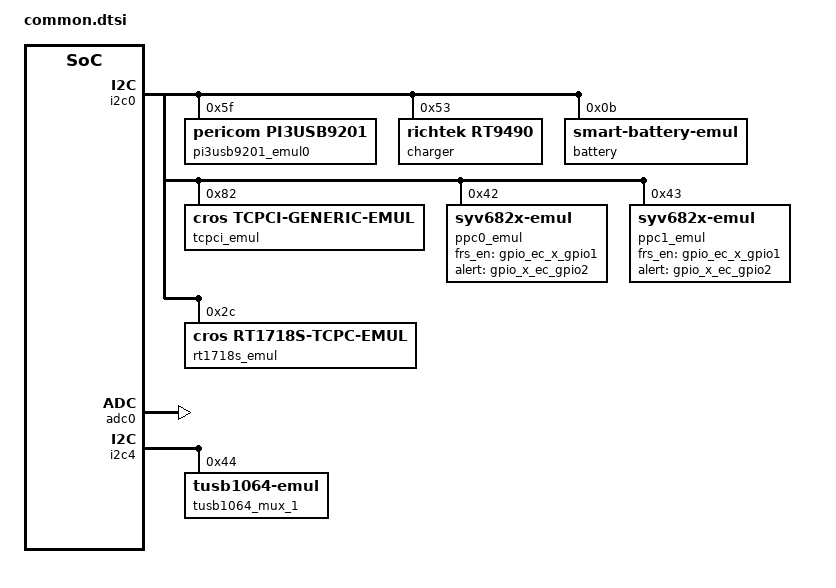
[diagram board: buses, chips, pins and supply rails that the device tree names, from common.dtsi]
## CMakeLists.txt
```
# Copyright 2022 The ChromiumOS Authors
# Use of this source code is governed by a BSD-style license that can be
# found in the LICENSE file.

cmake_minimum_required(VERSION 3.13.1)
find_package(Zephyr REQUIRED HINTS "${ZEPHYR_BASE}")
project(krabby)

add_subdirectory(${PLATFORM_EC}/zephyr/test/test_utils test_utils)

zephyr_include_directories(
	"${PLATFORM_EC_PROGRAM_DIR}/corsola/include"
	include)

target_sources(app PRIVATE
	src/stubs.c
	${PLATFORM_EC_PROGRAM_DIR}/corsola/src/ite_usbc.c
	${PLATFORM_EC_PROGRAM_DIR}/corsola/src/ite_usb_pd_policy.c
	${PLATFORM_EC_PROGRAM_DIR}/corsola/src/usb_pd_policy.c)

target_sources_ifdef(CONFIG_TEST_KRABBY
	app PRIVATE
	src/charger_workaround.c
	src/main.c
	src/power_seq.c
	src/usb_mux_init.c
	src/usbc_config.c
	${PLATFORM_EC_PROGRAM_DIR}/corsola/src/ite_charger_workaround.c)

target_sources_ifdef(CONFIG_TEST_TENTACRUEL
	app PRIVATE
	src/fake.c
	src/ppc_tentacruel.c
	src/temp_tentacruel.c
	src/fwconfig_tentacruel.c
	src/usb_mux_tentacruel.c
	${PLATFORM_EC_PROGRAM_DIR}/corsola/tentacruel/src/ppc.c
	${PLATFORM_EC_PROGRAM_DIR}/corsola/tentacruel/src/temp.c
	${PLATFORM_EC_PROGRAM_DIR}/corsola/tentacruel/src/sensor.c)

target_sources_ifdef(CONFIG_TEST_STARMIE
	app PRIVATE
	src/main.c
	src/power_seq.c
	src/temp_starmie.c
	${PLATFORM_EC_PROGRAM_DIR}/corsola/starmie/src/thermal.c
)

target_sources_ifdef(CONFIG_TEST_CHINCHOU
	app PRIVATE
	src/board_chinchou.c
	src/temp_chinchou.c
	${PLATFORM_EC_PROGRAM_DIR}/corsola/chinchou/src/board.c
	${PLATFORM_EC_PROGRAM_DIR}/corsola/chinchou/src/thermal.c
)

target_sources_ifdef(CONFIG_TEST_WOOBAT
	app PRIVATE
	src/fake.c
	src/ppc_woobat.c
	src/temp_woobat.c
	src/fwconfig_woobat.c
	${PLATFORM_EC_PROGRAM_DIR}/corsola/woobat/src/ppc.c
	${PLATFORM_EC_PROGRAM_DIR}/corsola/woobat/src/temp.c
	${PLATFORM_EC_PROGRAM_DIR}/corsola/woobat/src/sensor.c)

target_sources_ifdef(CONFIG_TEST_WUGTRIO
	app PRIVATE
	src/ppc_wugtrio.c
	src/base_detect.c
	src/motionsense_wugtrio.c
	src/temp_wugtrio.c
	${PLATFORM_EC_PROGRAM_DIR}/corsola/wugtrio/src/ppc.c
	${PLATFORM_EC_PROGRAM_DIR}/corsola/wugtrio/src/base_detect.c
	${PLATFORM_EC_PROGRAM_DIR}/corsola/wugtrio/src/alt_motionsense.c
	${PLATFORM_EC_PROGRAM_DIR}/corsola/wugtrio/src/thermal.c)

target_sources_ifdef(CONFIG_TEST_SKITTY
	app PRIVATE
	src/fake.c
	src/ppc_skitty.c
	src/temp_skitty.c
	src/led_skitty.c
	${PLATFORM_EC_PROGRAM_DIR}/corsola/skitty/src/ppc.c
	${PLATFORM_EC_PROGRAM_DIR}/corsola/skitty/src/temp.c
	${PLATFORM_EC_PROGRAM_DIR}/corsola/skitty/src/led.c)

target_sources_ifdef(CONFIG_TEST_VELUZA
	app PRIVATE
	src/fake_veluza.c
	src/ppc_veluza.c
	src/temp_veluza.c
	src/sensor_veluza.c
	${PLATFORM_EC_PROGRAM_DIR}/corsola/veluza/src/ppc.c
	${PLATFORM_EC_PROGRAM_DIR}/corsola/veluza/src/temp.c
	${PLATFORM_EC_PROGRAM_DIR}/corsola/veluza/src/sensor.c)
```

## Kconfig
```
# Copyright 2022 The ChromiumOS Authors
# Use of this source code is governed by a BSD-style license that can be
# found in the LICENSE file.

config MUX_INIT_ADC
	bool "Run the tests intended for usb_nux_init adc"
	help
	  Include stubs.c with const struct adc_t adc_channels[] function
	  into the binary to test.

choice
	prompt "select the test suite"

config TEST_KRABBY
	bool "Run the tests intended for krabby"
	help
	  Run the tests for krabby common code.

config TEST_TENTACRUEL
	bool "Run the tests intended for tentacruel"
	help
	  Include temp_tentacruel test into the binary to test temperature
	  threshold trigger current control.

config TEST_STARMIE
	bool "Run the tests intended for starmie"
	help
	  Include temp_starmie test into the binary to test temperature
	  threshold trigger current control.

config TEST_CHINCHOU
	bool "Run the tests intended for chincou"
	help
	  Include board_chinchou test into the binary to test distinguish
	  between clamshell and convertible.

config TEST_WOOBAT
	bool "Run the tests intended for woobat"
	help
	  Include temp_woobat test into the binary to test temperature
	  threshold trigger current control.

config TEST_WUGTRIO
	bool "Run the tests intended for wugtrio"
	help
	  Include board_wugtrio test into the binary to test alt_motionsense.c
	  base_detect.c and ppc.c code.

config TEST_DISABLE_INLINE_CHIPSET_IN_STATE
	bool "Disable chipset_in_state inline method"
	help
	  This is used to not define chipset_in_state method as inline
	  function.

config TEST_SKITTY
	bool "Run the tests intended for skitty"
	help
	  Include skitty test into the binary to test temperature
	  threshold trigger current control.

config TEST_VELUZA
	bool "Run the tests intended for veluza"
	help
	  Include veluza test into the binary to test temperature
	  threshold trigger current control.

endchoice

source "Kconfig.zephyr"
```

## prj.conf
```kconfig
# Copyright 2022 The ChromiumOS Authors
# Use of this source code is governed by a BSD-style license that can be
# found in the LICENSE file.

CONFIG_ZTEST=y
CONFIG_ZTEST_ASSERT_VERBOSE=1

CONFIG_ASSERT=y
CONFIG_ADC=y
CONFIG_CROS_EC=y
CONFIG_EMUL=y

CONFIG_SHIMMED_TASKS=n

CONFIG_PLATFORM_EC=y
CONFIG_PLATFORM_EC_BACKLIGHT_LID=n
CONFIG_PLATFORM_EC_BATTERY_FUEL_GAUGE=y
CONFIG_PLATFORM_EC_CHARGER=y
CONFIG_PLATFORM_EC_CHARGER_SENSE_RESISTOR=10
CONFIG_PLATFORM_EC_CHARGER_SENSE_RESISTOR_AC=20
CONFIG_PLATFORM_EC_CHARGE_MANAGER=y
CONFIG_PLATFORM_EC_CHARGE_RAMP_HW=y
CONFIG_PLATFORM_EC_GPIO_INIT_PRIORITY=49
CONFIG_PLATFORM_EC_HOOKS=y
CONFIG_PLATFORM_EC_HOSTCMD=y
CONFIG_PLATFORM_EC_LID_SWITCH=y
CONFIG_PLATFORM_EC_POWERSEQ_HOST_SLEEP=y
CONFIG_PLATFORM_EC_POWER_BUTTON=y
CONFIG_PLATFORM_EC_POWER_SLEEP_FAILURE_DETECTION=y
CONFIG_PLATFORM_EC_SWITCH=n
CONFIG_PLATFORM_EC_USBC=y
CONFIG_PLATFORM_EC_USB_CHARGER=y
CONFIG_PLATFORM_EC_USB_DRP_ACC_TRYSRC=y
CONFIG_PLATFORM_EC_USB_PD_DISCHARGE=y
CONFIG_PLATFORM_EC_USB_PD_DISCHARGE_PPC=y
CONFIG_PLATFORM_EC_USB_PD_VBUS_MEASURE_ADC_EACH_PORT=y
CONFIG_PLATFORM_EC_USB_POWER_DELIVERY=y
CONFIG_PLATFORM_EC_VBOOT_HASH=n
CONFIG_PLATFORM_EC_PP3700_DISCHARGE_TIME_MS=100

CONFIG_PLATFORM_EC_USBC_PPC=y

CONFIG_UART_NATIVE_PTY_0_ON_STDINOUT=y
```

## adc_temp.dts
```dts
/* Copyright 2022 The ChromiumOS Authors
 * Use of this source code is governed by a BSD-style license that can be
 * found in the LICENSE file.
 */

#include <cros/thermistor/thermistor.dtsi>

/ {
	name_temp_charger: charger {
		compatible = "cros-ec,temp-sensor-thermistor";

		thermistor = <&thermistor_rt9490>;
		adc = <&adc_charger>;
	};

	named-temp-sensors {
		compatible = "cros-ec,temp-sensors";
		temp_charger: charger {
			status = "okay";
			sensor = <&name_temp_charger>;
		};
	};
};
```

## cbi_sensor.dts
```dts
/* Copyright 2022 The ChromiumOS Authors
 * Use of this source code is governed by a BSD-style license that can be
 * found in the LICENSE file.
 */


/ {
	aliases {
		/*
		 * motion sense's <>_INT_EVENT is handled
		 * by alias. Using the alias, each driver creates
		 * its own <>_INT_EVENT.
		 */
		bmi3xx-int = &base_accel;
		bma4xx-int = &lid_accel;
	};
	named-i2c-ports {
	    compatible = "named-i2c-ports";

	    i2c_sensor: i2c-sensor {
		    i2c-port = <&i2c_ctrl0>;
		    enum-names = "I2C_PORT_SENSOR";
	    };
	    i2c_eeprom: i2c-eeprom {
		    i2c-port = <&i2c_ctrl0>;
		    enum-names = "I2C_PORT_EEPROM";
	    };
	};
	gpio-interrupts {
		int_base_imu: base_imu {
			handler = "base_sensor_interrupt";
		};

		int_lid_imu: lid_imu {
			handler = "lid_sensor_interrupt";
		};
	};
	/*
	 * change all underlying sensor drivers to bmi260 to have a easier way
	 * to mock interrupt handlers.
	 */
	motionsense-sensor-data {
		bmi323_data: bmi323-drv-data {
			compatible = "cros-ec,drvdata-bmi260";
			status = "okay";
		};

		bma422_data: bma422-drv-data {
			compatible = "cros-ec,drvdata-bmi260";
			status = "okay";
		};
	};
	motionsense-sensor-alt {
		alt_lid_accel: alt-lid-accel {
			compatible = "cros-ec,bmi260-accel";
			status = "okay";

			active-mask = "SENSOR_ACTIVE_S0_S3";
			location = "MOTIONSENSE_LOC_LID";
			port = <&i2c_sensor>;
			drv-data = <&bma422_data>;
			alternate-for = <&lid_accel>;
			mutex = <&lid_mutex>;
		};

		alt_base_accel: alt-base-accel {
			compatible = "cros-ec,bmi260-accel";
			status = "okay";

			active-mask = "SENSOR_ACTIVE_S0_S3";
			location = "MOTIONSENSE_LOC_BASE";
			port = <&i2c_sensor>;
			drv-data = <&bmi323_data>;
			alternate-for = <&base_accel>;
			mutex = <&base_mutex>;
		};

		alt_base_gyro: alt-base-gyro {
			compatible = "cros-ec,bmi260-gyro";
			status = "okay";

			active-mask = "SENSOR_ACTIVE_S0_S3";
			location = "MOTIONSENSE_LOC_BASE";
			port = <&i2c_sensor>;
			drv-data = <&bmi323_data>;
			alternate-for = <&base_gyro>;
			mutex = <&base_mutex>;
		};
	};
};

&i2c_ctrl0 {
	status="okay";

	cbi_eeprom: eeprom@50 {
		compatible = "atmel,at24";
		reg = <0x50>;
		size = <2048>;
		pagesize = <16>;
		address-width = <8>;
		timeout = <5>;
	};
};

&lid_accel {
	compatible = "cros-ec,bmi260-accel";
};

&base_accel {
	compatible = "cros-ec,bmi260-accel";
};

&base_gyro {
	compatible = "cros-ec,bmi260-gyro";
};

&icm42607_data {
	compatible = "cros-ec,drvdata-bmi260";
};

&lis2dw12_data {
	compatible = "cros-ec,drvdata-bmi260";
};
```

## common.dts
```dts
/* Copyright 2022 The ChromiumOS Authors
 * Use of this source code is governed by a BSD-style license that can be
 * found in the LICENSE file.
 */

#include <it8xxx2_emul.dts>

/ {
	pinctrl: pinctrl {
		compatible = "ite,it8xxx2-pinctrl";
		status = "disabled";
	};

	named-i2c-ports {
		compatible = "named-i2c-ports";

		i2c_charger: charger {
			i2c-port = <&i2c_ctrl0>;
			enum-names = "I2C_PORT_CHARGER",
				"I2C_PORT_BATTERY";
		};
	};

	usbc {
		#address-cells = <1>;
		#size-cells = <0>;

		port0@0 {
			compatible = "named-usbc-port";
			status = "okay";
			reg = <0>;
			chg = <&charger>;
			tcpc = <&tcpci_emul>;
			ppc = <&ppc0_emul>;
			usb-mux-chain-0 {
				compatible = "cros-ec,usb-mux-chain";
				usb-muxes = <&virtual_mux_0>;
			};
		};
		port0-muxes {
			virtual_mux_0: virtual-mux-0 {
				compatible = "cros-ec,usbc-mux-virtual";
			};
		};

		port1@1 {
			compatible = "named-usbc-port";
			status = "okay";
			reg = <1>;
			tcpc = <&tcpci_emul>;
			ppc = <&ppc1_emul>;
			usb-mux-chain-1 {
				compatible = "cros-ec,usb-mux-chain";
				usb-muxes = <&tusb1064_mux_1>;
			};
		};
		port1-muxes {
			virtual_mux_1: virtual-mux-1 {
				compatible = "cros-ec,usbc-mux-virtual";
			};
		};
	};

	batteries {
		default_battery: lgc_ac17a8m {
			compatible = "lgc,ac17a8m", "battery-smart";
		};
	};

	named-adc-channels {
		compatible = "named-adc-channels";

		adc_vbus_c0 {
			enum-name = "ADC_VBUS_C0";
			io-channels = <&adc0 0>;
			mul = <10>;
		};
		adc_board_id0 {
			enum-name = "ADC_BOARD_ID_0";
			io-channels = <&adc0 1>;
		};
		adc_board_id1 {
			enum-name = "ADC_BOARD_ID_1";
			io-channels = <&adc0 2>;
		};
		adc_vbus_c1 {
			enum-name = "ADC_VBUS_C1";
			io-channels = <&adc0 7>;
			mul = <10>;
		};
		adc_charger: charger {
			enum-name = "ADC_TEMP_SENSOR_CHARGER";
			io-channels = <&adc0 5>;
		};
	};
};

&i2c_ctrl0 {
	status="okay";

	charger: rt9490@53 {
		compatible = "zephyr,rt9490-emul";
		status = "okay";
		reg = <0x53>;
	};

	battery: sb@b {
		compatible = "zephyr,smart-battery-emul";
		reg = <0xb>;
		cycle-count = <99>;
		version = "BATTERY_SPEC_VER_1_1_WITH_PEC";
		/* Real battery voltages are multiples of 4.4V. */
		desired-charg-volt = <5000>;
		desired-charg-cur = <1000>;
		mf-name = "LGC";
		dev-name = "AC17A8M";
	};

	tcpci_emul: tcpci_emul@82 {
		compatible = "cros,tcpci-generic-emul";
		status = "okay";
		reg = <0x82>;
	};

	ppc0_emul: syv682x@42 {
		compatible = "zephyr,syv682x-emul";
		status = "okay";
		reg = <0x42>;
		frs_en_gpio = <&gpio_ec_x_gpio1>;
		alert_gpio = <&gpio_x_ec_gpio2>;
	};

	ppc1_emul: syv682x@43 {
		compatible = "zephyr,syv682x-emul";
		status = "okay";
		reg = <0x43>;
		/*
		 * the gpio pins are intentionally reused in both ppc emuls, to
		 * avoid handling different frs-en pin names on krabby and
		 * tentacruel.
		 */
		frs_en_gpio = <&gpio_ec_x_gpio1>;
		alert_gpio = <&gpio_x_ec_gpio2>;
	};
};

&adc0 {
	status = "okay";
};

&i2c_ctrl4 {
	status="okay";

	tusb1064_mux_1: tusb1064-mux-1@44 {
		compatible = "zephyr,tusb1064-emul";
		reg = <0x44>;
		board-init = "tusb1064_mux_1_board_init";
	};
};
```

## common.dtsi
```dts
/* Copyright 2022 The ChromiumOS Authors
 * Use of this source code is governed by a BSD-style license that can be
 * found in the LICENSE file.
 */

#include <it8xxx2_emul.dts>

/ {
	pinctrl: pinctrl {
		compatible = "ite,it8xxx2-pinctrl";
		status = "disabled";
	};

	named-i2c-ports {
		compatible = "named-i2c-ports";

		i2c_charger: charger {
			i2c-port = <&i2c0>;
			enum-names = "I2C_PORT_CHARGER",
				"I2C_PORT_BATTERY";
		};
	};

	usbc {
		#address-cells = <1>;
		#size-cells = <0>;

		port0@0 {
			compatible = "named-usbc-port";
			status = "okay";
			reg = <0>;
			bc12 = <&pi3usb9201_emul0>;
			chg = <&charger>;
			tcpc = <&tcpci_emul>;
			ppc = <&ppc0_emul>;
			usb-mux-chain-0 {
				compatible = "cros-ec,usb-mux-chain";
				usb-muxes = <&virtual_mux_0>;
			};
		};
		port0-muxes {
			virtual_mux_0: virtual-mux-0 {
				compatible = "cros-ec,usbc-mux-virtual";
			};
		};

		port1@1 {
			compatible = "named-usbc-port";
			status = "okay";
			reg = <1>;
			bc12 = <&bc12_port1>;
			tcpc = <&rt1718s_emul>;
			ppc = <&ppc1_emul>;
			usb-mux-chain-1 {
				compatible = "cros-ec,usb-mux-chain";
				usb-muxes = <&tusb1064_mux_1>;
			};
		};
		port1-muxes {
			virtual_mux_1: virtual-mux-1 {
				compatible = "cros-ec,usbc-mux-virtual";
			};
		};
	};

	batteries {
		default_battery: lgc_ac17a8m {
			compatible = "lgc,ac17a8m", "battery-smart";
			/**
			 * this has to be strictly lower than the desired
			 * voltage in smart battery emulator (5000mV).
			 */
			voltage_min = <4000>;
		};
	};

	named-adc-channels {
		compatible = "named-adc-channels";

		adc_vbus_c0 {
			enum-name = "ADC_VBUS_C0";
			io-channels = <&adc0 0>;
			mul = <10>;
		};
		adc_board_id0 {
			enum-name = "ADC_BOARD_ID_0";
			io-channels = <&adc0 1>;
		};
		adc_board_id1 {
			enum-name = "ADC_BOARD_ID_1";
			io-channels = <&adc0 2>;
		};
		adc_vbus_c1 {
			enum-name = "ADC_VBUS_C1";
			io-channels = <&adc0 7>;
			mul = <10>;
		};
		adc_charger: charger {
			enum-name = "ADC_TEMP_SENSOR_CHARGER";
			io-channels = <&adc0 5>;
		};
	};
};

&i2c0 {
	status="okay";

	pi3usb9201_emul0: pi3usb9201@5f {
		compatible = "pericom,pi3usb9201";
		reg = <0x5f>;
	};

	charger: bc12_port1: rt9490@53 {
		compatible = "richtek,rt9490", "zephyr,rt9490-emul";
		status = "okay";
		reg = <0x53>;
	};

	battery: sb@b {
		compatible = "zephyr,smart-battery-emul";
		reg = <0xb>;
		cycle-count = <99>;
		version = "BATTERY_SPEC_VER_1_1_WITH_PEC";
		/* Real battery voltages are multiples of 4.4V. */
		desired-charg-volt = <5000>;
		desired-charg-cur = <1000>;
		mf-name = "LGC";
		dev-name = "AC17A8M";
	};

	tcpci_emul: tcpci_emul@82 {
		compatible = "cros,tcpci-generic-emul";
		status = "okay";
		reg = <0x82>;
	};

	ppc0_emul: syv682x@42 {
		compatible = "zephyr,syv682x-emul";
		status = "okay";
		reg = <0x42>;
		frs_en_gpio = <&gpio_ec_x_gpio1>;
		alert_gpio = <&gpio_x_ec_gpio2>;
	};

	ppc1_emul: syv682x@43 {
		compatible = "zephyr,syv682x-emul";
		status = "okay";
		reg = <0x43>;
		/*
		 * the gpio pins are intentionally reused in both ppc emuls, to
		 * avoid handling different frs-en pin names on krabby and
		 * tentacruel.
		 */
		frs_en_gpio = <&gpio_ec_x_gpio1>;
		alert_gpio = <&gpio_x_ec_gpio2>;
	};

	rt1718s_emul: rt1718s@2c {
		compatible = "cros,rt1718s-tcpc-emul", "richtek,rt1718s-tcpc";
		status = "okay";
		reg = <0x2c>;
	};
};

&adc0 {
	status = "okay";
};

&i2c4 {
	status="okay";

	tusb1064_mux_1: tusb1064-mux-1@44 {
		compatible = "zephyr,tusb1064-emul";
		reg = <0x44>;
		board-init = "tusb1064_mux_1_board_init";
	};
};
```

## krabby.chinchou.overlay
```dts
/* Copyright 2023 The ChromiumOS Authors
 * Use of this source code is governed by a BSD-style license that can be
 * found in the LICENSE file.
 */

#include "common.dtsi"
#include "../program/corsola/ite_gpio.dtsi"
#include "../program/corsola/ite_interrupts.dtsi"
#include "../program/corsola/power_signal.dtsi"
#include "../program/corsola/chinchou/thermistor.dtsi"
#include <cros/thermistor/thermistor.dtsi>

/* remove pinctrl to avoid pull in too many unwanted dependency */
/delete-node/ &pinctrl;

/delete-node/ &int_usb_c0_ppc_bc12;
/delete-node/ &int_volume_up;
/delete-node/ &int_volume_down;
/delete-node/ &int_tablet_mode;
/delete-node/ &int_xhci;
/delete-node/ &int_spi0_cs;
/delete-node/ &int_x_ec_gpio2;
/delete-node/ &int_ccd_mode_odl;
/delete-node/ &int_base_imu;
/delete-node/ &int_lid_imu;

/ {
	aliases {
		bma4xx-int = &lid_accel;
	};

	charger_bc12_port1: charger {
		compatible = "cros-ec,temp-sensor-thermistor";

		thermistor = <&thermistor_rt9490>;
		adc = <&adc_charger>;
	};

	named-temp-sensors {
		compatible = "cros-ec,temp-sensors";
		temp_charger: charger {
			status = "okay";
			sensor = <&charger_bc12_port1>;
		};
	};

	named-gpios {
		en_pp4200_s5: en-pp4200-s5 {
			gpios = <&gpiod 2 GPIO_OUTPUT_LOW>;
		};

		pg_pp4200_s5_od: pg-pp4200-s5-od {
			gpios = <&gpioe 1 GPIO_INPUT>;
			enum-name = "GPIO_PG_PP4200_S5_OD";
		};

		pmic_ec_resetb: pmic-ec-resetb {
			gpios = <&gpioh 3 (GPIO_INPUT | GPIO_VOLTAGE_1P8 |
					GPIO_ACTIVE_LOW)>;
			enum-name = "GPIO_PMIC_EC_RESETB";
		};
	};

	power_signal_list: power-signal-list {
		 compatible = "mediatek,mt8188-power-signal-list";

		 pg_pp4200_s5 {
			power-enum-name = "PG_PP4200_S5";
			power-gpio-pin = <&pg_pp4200_s5_od>;
		};
		 pmic_ap_reset {
			power-enum-name = "PMIC_AP_RST";
			power-gpio-pin = <&pmic_ec_resetb>;
		};
	};

	/delete-node/ unused-pins;

	gpio-interrupts {
		int_base_imu: base_imu {
			irq-pin = <&base_imu_int_l>;
			flags = <GPIO_INT_EDGE_FALLING>;
			handler = "motion_interrupt";
		};
	};

	motionsense-sensor-data {
		bma4xx_data: bma4xx-drv-data {
			compatible = "cros-ec,drvdata-bma4xx";
			status = "okay";
		};
		bmi3xx_data: bmi3xx-drv-data {
			compatible = "cros-ec,drvdata-bmi3xx";
			status = "okay";
		};
	};

	motionsense-sensor {
		lid_accel: lid-accel {
			compatible = "cros-ec,bma4xx";
			status = "okay";

			active-mask = "SENSOR_ACTIVE_S0_S3";
			location = "MOTIONSENSE_LOC_LID";
			drv-data = <&bma4xx_data>;
		};

		base_accel: base-accel {
			compatible = "cros-ec,bmi3xx-accel";
			status = "okay";

			active-mask = "SENSOR_ACTIVE_S0_S3";
			location = "MOTIONSENSE_LOC_BASE";
			drv-data = <&bmi3xx_data>;
		};

		base_gyro: base-gyro {
			compatible = "cros-ec,bmi3xx-gyro";
			status = "okay";

			active-mask = "SENSOR_ACTIVE_S0_S3";
			location = "MOTIONSENSE_LOC_BASE";
			drv-data = <&bmi3xx_data>;
		};
	};

	Chinchou-fw-config {
		compatible = "cros-ec,cbi-fw-config";

		/*
		 * FW_CONFIG field to indicate the device is clamshell
		 * or convertible.
		 */
		form_factor {
			enum-name = "FORM_FACTOR";
			start = <13>;
			size = <3>;

			convertible {
				compatible = "cros-ec,cbi-fw-config-value";
				enum-name = "CONVERTIBLE";
				value = <1>;
			};
			clamshell {
				compatible = "cros-ec,cbi-fw-config-value";
				enum-name = "CLAMSHELL";
				value = <0>;
			};
		};
	};

	/* Chinchou-specific ssfc fields. */
	chinchou-ssfc {
		compatible = "cros-ec,cbi-ssfc";

		/* SSFC field to identify BASE motion sensor. */
		base-sensor {
			enum-name = "BASE_SENSOR";
			size = <3>;

			base_sensor_0: bmi323 {
				compatible = "cros-ec,cbi-ssfc-value";
				status = "okay";
				value = <1>;
				default;
			};

			base_sensor_1: lsm6dsm {
				compatible = "cros-ec,cbi-ssfc-value";
				status = "okay";
				value = <2>;
			};
		};

		/* SSFC field to identify LID motion sensor. */
		lid-sensor {
			enum-name = "LID_SENSOR";
			size = <3>;

			lid_sensor_0: bma422 {
				compatible = "cros-ec,cbi-ssfc-value";
				status = "okay";
				value = <1>;
				default;
			};
			lid_sensor_1: lis2dw12 {
				compatible = "cros-ec,cbi-ssfc-value";
				status = "okay";
				value = <2>;
			};
		};
	};

	named-i2c-ports {
		compatible = "named-i2c-ports";

		battery {
			i2c-port = <&i2c0>;
			remote-port = <1>;
			enum-names = "I2C_PORT_BATTERY",
				"I2C_PORT_VIRTUAL_BATTERY";
		};

		i2c_charger: charger {
			i2c-port = <&i2c0>;
			enum-names = "I2C_PORT_CHARGER",
				"I2C_PORT_EEPROM";
		};
	};

	motionsense-sensor-alt {
		alt_lid_accel: alt-lid-accel {
			compatible = "cros-ec,lis2dw12";
			status = "okay";

			active-mask = "SENSOR_ACTIVE_S0_S3";
			location = "MOTIONSENSE_LOC_LID";
		};

		alt_base_accel: alt-base-accel {
			compatible = "cros-ec,lsm6dsm-accel";
			status = "okay";

			active-mask = "SENSOR_ACTIVE_S0_S3";
			location = "MOTIONSENSE_LOC_BASE";
		};

		alt_base_gyro: alt-base-gyro {
			compatible = "cros-ec,lsm6dsm-gyro";
			status = "okay";

			active-mask = "SENSOR_ACTIVE_S0_S3";
			location = "MOTIONSENSE_LOC_BASE";
		};
	};

	motionsense-sensor-info {
		compatible = "cros-ec,motionsense-sensor-info";

		sensor-irqs = <&int_base_imu>;
	};
};

/* open-drain is not supported in gpio emul, re-config to push-pull  */
&ec_pmic_en_odl {
	gpios = <&gpiod 0 (GPIO_OUTPUT_HIGH | GPIO_INPUT | GPIO_VOLTAGE_1P8)>;
};
&sys_rst_odl {
	gpios = <&gpiog 1 GPIO_OUTPUT_LOW>;
};

/* set default gpio-emul state */
&power_button_l {
	gpios = <&gpioe 4 (GPIO_INPUT | GPIO_PULL_UP)>;
};

&i2c0 {
	status = "okay";

	cbi_eeprom: eeprom@50 {
		compatible = "atmel,at24";
		reg = <0x50>;
		size = <2048>;
		pagesize = <16>;
		address-width = <8>;
		timeout = <5>;
	};
};
```

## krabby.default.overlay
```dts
/* Copyright 2022 The ChromiumOS Authors
 * Use of this source code is governed by a BSD-style license that can be
 * found in the LICENSE file.
 */

#include "common.dtsi"
#include "../program/corsola/ite_gpio.dtsi"
#include "../program/corsola/ite_interrupts.dtsi"
#include "../program/corsola/power_signal.dtsi"

/* remove pinctrl to avoid pull in too many unwanted dependency */
/delete-node/ &pinctrl;

/delete-node/ &int_usb_c0_ppc_bc12;
/delete-node/ &int_volume_up;
/delete-node/ &int_volume_down;
/delete-node/ &int_tablet_mode;
/delete-node/ &int_xhci;
/delete-node/ &int_spi0_cs;
/delete-node/ &int_x_ec_gpio2;
/delete-node/ &int_ccd_mode_odl;
/delete-node/ &int_base_imu;
/delete-node/ &int_lid_imu;

/* open-drain is not supported in gpio emul, re-config to push-pull  */
&ec_pmic_en_odl {
	gpios = <&gpiod 0 (GPIO_OUTPUT_HIGH | GPIO_INPUT | GPIO_VOLTAGE_1P8)>;
};
&sys_rst_odl {
	gpios = <&gpiog 1 GPIO_OUTPUT_LOW>;
};

/* set default gpio-emul state */
&power_button_l {
	gpios = <&gpioe 4 (GPIO_INPUT | GPIO_PULL_UP)>;
};
```

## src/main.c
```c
/* Copyright 2022 The ChromiumOS Authors
 * Use of this source code is governed by a BSD-style license that can be
 * found in the LICENSE file.
 */

#include "ec_app_main.h"
#include "test_state.h"

#include <zephyr/kernel.h>
#include <zephyr/ztest.h>

bool krabby_predicate_post_main(const void *state)
{
	return ((struct test_state *)state)->ec_app_main_run;
}

void test_main(void)
{
	struct test_state state = {
		.ec_app_main_run = false,
	};

	/* Run all the suites that depend on main not being called yet */
	ztest_run_test_suites(&state, false, 1, 1);

	ec_app_main();

	state.ec_app_main_run = true;

	/* Run all the suites that depend on main being called */
	ztest_run_test_suites(&state, false, 1, 1);

	/* Check that every suite ran */
	ztest_verify_all_test_suites_ran();
}
```

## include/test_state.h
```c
/* Copyright 2022 The ChromiumOS Authors
 * Use of this source code is governed by a BSD-style license that can be
 * found in the LICENSE file.
 */

#ifndef ZEPHYR_TEST_KRABBY_INCLUDE_TEST_STATE_H_
#define ZEPHYR_TEST_KRABBY_INCLUDE_TEST_STATE_H_

#include <stdbool.h>

struct test_state {
	bool ec_app_main_run;
};

bool krabby_predicate_post_main(const void *state);

#endif /* ZEPHYR_TEST_AP_POWER_INCLUDE_TEST_STATE_H_ */
```

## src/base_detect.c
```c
/* Copyright 2024 The ChromiumOS Authors
 * Use of this source code is governed by a BSD-style license that can be
 * found in the LICENSE file.
 */

#include "ap_power/ap_power_events.h"
#include "base_state.h"
#include "chipset.h"
#include "gpio/gpio_int.h"
#include "hooks.h"
#include "host_command.h"
#include "power.h"
#include "tablet_mode.h"
#include "task.h"

#include <zephyr/drivers/adc/adc_emul.h>
#include <zephyr/drivers/gpio.h>
#include <zephyr/drivers/gpio/gpio_emul.h>
#include <zephyr/kernel.h>
#include <zephyr/ztest.h>

#define ATTACH_MAX_THRESHOLD_MV 300
#define UNATTACH_THRESHOLD_MV 1800

extern bool is_held;

static void set_signal_state(enum power_state state)
{
	const struct gpio_dt_spec *ap_ec_sysrst_odl =
		gpio_get_dt_spec(GPIO_AP_EC_SYSRST_ODL);
	const struct gpio_dt_spec *ap_in_sleep_l =
		gpio_get_dt_spec(GPIO_AP_IN_SLEEP_L);

	if (state == POWER_S0) {
		gpio_emul_input_set(ap_in_sleep_l->port, ap_in_sleep_l->pin, 1);
		gpio_emul_input_set(ap_ec_sysrst_odl->port,
				    ap_ec_sysrst_odl->pin, 1);
	}

	/* reset is_held flag */
	is_held = false;
	task_wake(TASK_ID_CHIPSET);
	k_sleep(K_SECONDS(1));
}

static void *base_detect_setup(void)
{
	/* G3 -> S0 */
	power_set_state(POWER_G3);
	set_signal_state(POWER_S0);

	return NULL;
}

ZTEST_SUITE(base_detect, NULL, base_detect_setup, NULL, NULL, NULL);

ZTEST(base_detect, test_init_attach_detach)
{
	const struct device *adc_dev = DEVICE_DT_GET(DT_NODELABEL(adc0));
	const uint8_t adc_channel =
		DT_IO_CHANNELS_INPUT(DT_NODELABEL(adc_base_det));

	zassert_ok(adc_emul_const_value_set(adc_dev, adc_channel,
					    ATTACH_MAX_THRESHOLD_MV));
	k_sleep(K_MSEC(1000));
	hook_notify(HOOK_INIT);
	zassert_true(base_get_state());

	zassert_ok(adc_emul_const_value_set(adc_dev, adc_channel,
					    UNATTACH_THRESHOLD_MV));
	k_sleep(K_MSEC(1000));
	hook_notify(HOOK_INIT);
	zassert_false(base_get_state());
}

ZTEST(base_detect, test_base_detect_startup)
{
	const struct device *adc_dev = DEVICE_DT_GET(DT_NODELABEL(adc0));
	const uint8_t adc_channel =
		DT_IO_CHANNELS_INPUT(DT_NODELABEL(adc_base_det));

	/* Verify power on when keyboard is plugged in or out */
	hook_notify(HOOK_INIT);
	zassert_ok(adc_emul_const_value_set(adc_dev, adc_channel,
					    ATTACH_MAX_THRESHOLD_MV));
	k_sleep(K_MSEC(1000));

	ap_power_ev_send_callbacks(AP_POWER_STARTUP);
	zassert_equal(0, tablet_get_mode(), NULL);

	zassert_ok(adc_emul_const_value_set(adc_dev, adc_channel,
					    UNATTACH_THRESHOLD_MV));
	k_sleep(K_MSEC(1000));
	ap_power_ev_send_callbacks(AP_POWER_STARTUP);
	k_sleep(K_MSEC(100));
	zassert_equal(1, tablet_get_mode());
}

ZTEST(base_detect, test_base_detect_shutdown)
{
	/* Verify shutdown when keyboard is plugged in or out */
	hook_notify(HOOK_INIT);
	ap_power_ev_send_callbacks(AP_POWER_SHUTDOWN);
	zassert_equal(1, tablet_get_mode(), NULL);
}

ZTEST(base_detect, test_base_detect_interrupt)
{
	const struct device *adc_dev = DEVICE_DT_GET(DT_NODELABEL(adc0));
	const uint8_t adc_channel =
		DT_IO_CHANNELS_INPUT(DT_NODELABEL(adc_base_det));

	/*
	 * Verify that an interrupt is triggered when the keyboard is
	 * inserted or removed
	 */
	hook_notify(HOOK_INIT);
	zassert_ok(adc_emul_const_value_set(adc_dev, adc_channel,
					    ATTACH_MAX_THRESHOLD_MV));
	k_sleep(K_MSEC(1000));
	zassert_equal(0, tablet_get_mode(), NULL);

	zassert_ok(adc_emul_const_value_set(adc_dev, adc_channel,
					    UNATTACH_THRESHOLD_MV));
	k_sleep(K_MSEC(1000));
	zassert_equal(1, tablet_get_mode(), NULL);
}

ZTEST_SUITE(console_cmd_setbasestate, NULL, NULL, NULL, NULL, NULL);

ZTEST_USER(console_cmd_setbasestate, test_sb_setbasestate)
{
	int rv;

	const struct device *adc_dev = DEVICE_DT_GET(DT_NODELABEL(adc0));
	const uint8_t adc_channel =
		DT_IO_CHANNELS_INPUT(DT_NODELABEL(adc_base_det));

	/* command to basestate attach*/
	rv = shell_execute_cmd(get_ec_shell(), "basestate attach");
	zassert_equal(EC_RES_SUCCESS, rv, "Expected %d, but got %d",
		      EC_RES_SUCCESS, rv);
	k_sleep(K_MSEC(500));
	zassert_equal(0, tablet_get_mode(), NULL);

	/* command to basestate detach*/
	rv = shell_execute_cmd(get_ec_shell(), "basestate detach");
	zassert_equal(EC_RES_SUCCESS, rv, "Expected %d, but got %d",
		      EC_RES_SUCCESS, rv);
	k_sleep(K_MSEC(500));
	zassert_equal(1, tablet_get_mode(), NULL);

	/* command to basestate resaet*/
	zassert_ok(adc_emul_const_value_set(adc_dev, adc_channel,
					    ATTACH_MAX_THRESHOLD_MV));
	rv = shell_execute_cmd(get_ec_shell(), "basestate reset");
	zassert_equal(EC_RES_SUCCESS, rv, "Expected %d, but got %d",
		      EC_RES_SUCCESS, rv);
	k_sleep(K_MSEC(1000));
	zassert_equal(0, tablet_get_mode(), NULL);

	zassert_ok(adc_emul_const_value_set(adc_dev, adc_channel,
					    UNATTACH_THRESHOLD_MV));
	rv = shell_execute_cmd(get_ec_shell(), "basestate reset");
	zassert_equal(EC_RES_SUCCESS, rv, "Expected %d, but got %d",
		      EC_RES_SUCCESS, rv);
	k_sleep(K_MSEC(1000));
	zassert_equal(1, tablet_get_mode(), NULL);
}
```

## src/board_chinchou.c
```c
/* Copyright 2023 The ChromiumOS Authors
 * Use of this source code is governed by a BSD-style license that can be
 * found in the LICENSE file.
 */

#include "cros_board_info.h"
#include "cros_cbi.h"
#include "gpio_signal.h"
#include "hooks.h"
#include "tablet_mode.h"
#include "zephyr/kernel.h"

#include <zephyr/drivers/gpio/gpio_emul.h>
#include <zephyr/fff.h>
#include <zephyr/ztest.h>

/* SSFC field defined in zephyr/program/corsola/cbi_steelix.dts */
#define SSFC_BASE_MAIN_SENSOR (0x1)
#define SSFC_BASE_ALT_SENSOR (0x1 << 1)

#define SSFC_LID_MAIN_SENSOR (0x1 << 3)
#define SSFC_LID_ALT_SENSOR (0x1 << 4)

#define SSFC_MAIM_SENSORS (SSFC_LID_MAIN_SENSOR | SSFC_BASE_MAIN_SENSOR)
#define SSFC_ALT_SENSORS (SSFC_LID_ALT_SENSOR | SSFC_BASE_ALT_SENSOR)

FAKE_VALUE_FUNC(int, cbi_get_ssfc, uint32_t *);
FAKE_VALUE_FUNC(int, cros_cbi_get_fw_config, enum cbi_fw_config_field_id,
		uint32_t *);

static void reset(void)
{
	/* Re-initialize CBI */
	cros_cbi_ec_init();

	/* Re-initialize sensors and board config */
	hook_notify(HOOK_INIT);
}

int mock_cros_cbi_get_fw_config_clamshell(enum cbi_fw_config_field_id field_id,
					  uint32_t *value)
{
	*value = CLAMSHELL;
	return 0;
}

static void chinchou_before(void *fixture)
{
	RESET_FAKE(cbi_get_ssfc);
	RESET_FAKE(cros_cbi_get_fw_config);
}

static void *clamshell_setup(void)
{
	int val;

	cros_cbi_get_fw_config_fake.custom_fake =
		mock_cros_cbi_get_fw_config_clamshell;
	reset();

	/* Check if CBI write worked. */
	zassert_ok(cros_cbi_get_fw_config(FORM_FACTOR, &val), NULL);
	zassert_equal(CLAMSHELL, val, "val=%d", val);

	return NULL;
}

ZTEST_SUITE(chinchou_clamshell, NULL, clamshell_setup, chinchou_before, NULL,
	    NULL);

ZTEST(chinchou_clamshell, test_gmr_tablet_switch_disabled)
{
	const struct device *tablet_mode_gpio =
		DEVICE_DT_GET(DT_GPIO_CTLR(DT_NODELABEL(tablet_mode_l), gpios));
	const gpio_port_pins_t tablet_mode_pin =
		DT_GPIO_PIN(DT_NODELABEL(tablet_mode_l), gpios);

	/* Verify gmr_tablet_switch is disabled, by checking the side effects
	 * of calling tablet_set_mode, and setting tablet_mode_l.
	 */
	zassert_ok(gpio_emul_input_set(tablet_mode_gpio, tablet_mode_pin, 0),
		   NULL);
	k_sleep(K_MSEC(100));
	tablet_set_mode(1, TABLET_TRIGGER_LID);
	zassert_equal(0, tablet_get_mode(), NULL);
	zassert_ok(gpio_emul_input_set(tablet_mode_gpio, tablet_mode_pin, 1),
		   NULL);
	k_sleep(K_MSEC(100));
	tablet_set_mode(0, TABLET_TRIGGER_LID);
	zassert_equal(0, tablet_get_mode(), NULL);
	zassert_ok(gpio_emul_input_set(tablet_mode_gpio, tablet_mode_pin, 0),
		   NULL);
	k_sleep(K_MSEC(100));
	tablet_set_mode(1, TABLET_TRIGGER_LID);
	zassert_equal(0, tablet_get_mode(), NULL);
}

static int interrupt_count;

ZTEST(chinchou_clamshell, test_base_imu_irq_disabled)
{
	const struct device *base_imu_gpio = DEVICE_DT_GET(
		DT_GPIO_CTLR(DT_NODELABEL(base_imu_int_l), gpios));
	const gpio_port_pins_t base_imu_pin =
		DT_GPIO_PIN(DT_NODELABEL(base_imu_int_l), gpios);

	/* Verify base_imu_irq is disabled. */
	interrupt_count = 0;
	zassert_ok(gpio_emul_input_set(base_imu_gpio, base_imu_pin, 1), NULL);
	k_sleep(K_MSEC(100));
	zassert_ok(gpio_emul_input_set(base_imu_gpio, base_imu_pin, 0), NULL);
	k_sleep(K_MSEC(100));

	zassert_equal(interrupt_count, 0, "interrupt_count=%d",
		      interrupt_count);
}

static int interrupt_id;

void bmi3xx_interrupt(enum gpio_signal signal)
{
	interrupt_id = 1;
}

void lsm6dsm_interrupt(enum gpio_signal signal)
{
	interrupt_id = 2;
}

static int ssfc_data;
static int cbi_get_ssfc_mock(uint32_t *ssfc)
{
	*ssfc = ssfc_data;
	return 0;
}

static void *alt_sensor_use_setup(void)
{
	const struct device *wp_gpio =
		DEVICE_DT_GET(DT_GPIO_CTLR(DT_ALIAS(gpio_wp), gpios));
	const gpio_port_pins_t wp_pin = DT_GPIO_PIN(DT_ALIAS(gpio_wp), gpios);

	/* Make sure that write protect is disabled */
	zassert_ok(gpio_emul_input_set(wp_gpio, wp_pin, 1), NULL);
	/* Set SSFC to enable alt sensors. */
	cbi_get_ssfc_fake.custom_fake = cbi_get_ssfc_mock;
	ssfc_data = SSFC_ALT_SENSORS;
	/* Run init hooks to initialize cbi. */
	reset();

	return NULL;
}

ZTEST_SUITE(alt_sensor_use, NULL, alt_sensor_use_setup, chinchou_before, NULL,
	    NULL);

ZTEST(alt_sensor_use, test_alt_sensor_use)
{
	const struct device *base_imu_gpio = DEVICE_DT_GET(
		DT_GPIO_CTLR(DT_NODELABEL(base_imu_int_l), gpios));
	const gpio_port_pins_t base_imu_pin =
		DT_GPIO_PIN(DT_NODELABEL(base_imu_int_l), gpios);

	zassert_ok(gpio_emul_input_set(base_imu_gpio, base_imu_pin, 1), NULL);
	k_sleep(K_MSEC(100));
	zassert_ok(gpio_emul_input_set(base_imu_gpio, base_imu_pin, 0), NULL);
	k_sleep(K_MSEC(100));

	zassert_equal(interrupt_id, 2, "interrupt_id=%d", interrupt_id);
}

static void *alt_sensor_no_use_setup(void)
{
	const struct device *wp_gpio =
		DEVICE_DT_GET(DT_GPIO_CTLR(DT_ALIAS(gpio_wp), gpios));
	const gpio_port_pins_t wp_pin = DT_GPIO_PIN(DT_ALIAS(gpio_wp), gpios);

	/* Make sure that write protect is disabled */
	zassert_ok(gpio_emul_input_set(wp_gpio, wp_pin, 1), NULL);
	/* Set SSFC to disable alt sensors. */
	cbi_get_ssfc_fake.custom_fake = cbi_get_ssfc_mock;
	ssfc_data = SSFC_MAIM_SENSORS;
	/* Run init hooks to initialize cbi. */
	reset();

	return NULL;
}

ZTEST_SUITE(alt_sensor_no_use, NULL, alt_sensor_no_use_setup, chinchou_before,
	    NULL, NULL);

ZTEST(alt_sensor_no_use, test_alt_sensor_no_use)
{
	const struct device *base_imu_gpio = DEVICE_DT_GET(
		DT_GPIO_CTLR(DT_NODELABEL(base_imu_int_l), gpios));
	const gpio_port_pins_t base_imu_pin =
		DT_GPIO_PIN(DT_NODELABEL(base_imu_int_l), gpios);

	zassert_ok(gpio_emul_input_set(base_imu_gpio, base_imu_pin, 1), NULL);
	k_sleep(K_MSEC(100));
	zassert_ok(gpio_emul_input_set(base_imu_gpio, base_imu_pin, 0), NULL);
	k_sleep(K_MSEC(100));

	zassert_equal(interrupt_id, 1, "interrupt_id=%d", interrupt_id);
}
```

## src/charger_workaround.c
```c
/* Copyright 2022 The ChromiumOS Authors
 * Use of this source code is governed by a BSD-style license that can be
 * found in the LICENSE file.
 */

#include "charger.h"
#include "driver/charger/rt9490.h"
#include "emul/emul_rt9490.h"
#include "hooks.h"
#include "i2c.h"
#include "system.h"

#include <zephyr/devicetree.h>
#include <zephyr/drivers/emul.h>
#include <zephyr/fff.h>
#include <zephyr/ztest.h>

FAKE_VALUE_FUNC(int, board_get_version);

const struct emul *emul = EMUL_DT_GET(DT_NODELABEL(charger));

static bool ibus_adc_workaround_called(void)
{
	return rt9490_emul_peek_reg(emul, 0x52) == 0xC4;
}

static bool i2c_speed_workaround_called(void)
{
	return rt9490_emul_peek_reg(emul, 0x71) == 0x22;
}

static bool eoc_deglitch_workaround_called(void)
{
	return !(rt9490_emul_peek_reg(emul, RT9490_REG_ADD_CTRL0) &
		 RT9490_TD_EOC);
}

static bool disable_safety_timer_called(void)
{
	return rt9490_emul_peek_reg(emul, RT9490_REG_SAFETY_TMR_CTRL) ==
	       (RT9490_EN_TRICHG_TMR | RT9490_EN_PRECHG_TMR |
		RT9490_EN_FASTCHG_TMR);
}

ZTEST(charger_workaround, test_board_version_0)
{
	board_get_version_fake.return_val = 0;

	hook_notify(HOOK_INIT);
	zassert_true(ibus_adc_workaround_called(), NULL);
	zassert_true(i2c_speed_workaround_called(), NULL);
	zassert_false(eoc_deglitch_workaround_called(), NULL);
	zassert_true(disable_safety_timer_called(), NULL);
}

ZTEST(charger_workaround, test_board_version_1)
{
	board_get_version_fake.return_val = 1;

	hook_notify(HOOK_INIT);
	zassert_false(ibus_adc_workaround_called(), NULL);
	zassert_true(i2c_speed_workaround_called(), NULL);
	zassert_true(eoc_deglitch_workaround_called(), NULL);
	zassert_true(disable_safety_timer_called(), NULL);
}

ZTEST(charger_workaround, test_board_version_2)
{
	board_get_version_fake.return_val = 2;

	hook_notify(HOOK_INIT);
	zassert_false(ibus_adc_workaround_called(), NULL);
	zassert_true(i2c_speed_workaround_called(), NULL);
	zassert_false(eoc_deglitch_workaround_called(), NULL);
	zassert_false(disable_safety_timer_called(), NULL);
}

ZTEST(charger_workaround, test_board_version_3)
{
	board_get_version_fake.return_val = 3;

	hook_notify(HOOK_INIT);
	zassert_false(ibus_adc_workaround_called(), NULL);
	zassert_false(i2c_speed_workaround_called(), NULL);
	zassert_false(eoc_deglitch_workaround_called(), NULL);
	zassert_false(disable_safety_timer_called(), NULL);
}

static void charge_workaround_before(void *fixture)
{
	RESET_FAKE(board_get_version);
	rt9490_emul_reset_regs(emul);
}

ZTEST_SUITE(charger_workaround, NULL, NULL, charge_workaround_before, NULL,
	    NULL);
```

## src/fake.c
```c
/* Copyright 2022 The ChromiumOS Authors
 * Use of this source code is governed by a BSD-style license that can be
 * found in the LICENSE file.
 */

#include "gpio_signal.h"

#include <zephyr/fff.h>

/* LCOV_EXCL_START */

FAKE_VOID_FUNC(button_interrupt, enum gpio_signal);
FAKE_VOID_FUNC(chipset_reset_request_interrupt, enum gpio_signal);
FAKE_VOID_FUNC(power_signal_interrupt, enum gpio_signal);
FAKE_VOID_FUNC(chipset_warm_reset_interrupt, enum gpio_signal);
FAKE_VOID_FUNC(chipset_watchdog_interrupt, enum gpio_signal);
FAKE_VOID_FUNC(extpower_interrupt, enum gpio_signal);
FAKE_VOID_FUNC(xhci_interrupt, enum gpio_signal);
FAKE_VOID_FUNC(spi_event, enum gpio_signal);
FAKE_VOID_FUNC(ccd_interrupt, enum gpio_signal);
FAKE_VOID_FUNC(x_ec_interrupt, enum gpio_signal);

/* LCOV_EXCL_STOP */

int extpower_is_present(void)
{
	return 1;
}
```

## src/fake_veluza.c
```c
/* Copyright 2025 The ChromiumOS Authors
 * Use of this source code is governed by a BSD-style license that can be
 * found in the LICENSE file.
 */

#include "gpio_signal.h"

#include <zephyr/fff.h>

/* LCOV_EXCL_START */

FAKE_VOID_FUNC(button_interrupt, enum gpio_signal);
FAKE_VOID_FUNC(chipset_reset_request_interrupt, enum gpio_signal);
FAKE_VOID_FUNC(power_signal_interrupt, enum gpio_signal);
FAKE_VOID_FUNC(chipset_warm_reset_interrupt, enum gpio_signal);
FAKE_VOID_FUNC(chipset_watchdog_interrupt, enum gpio_signal);
FAKE_VOID_FUNC(xhci_interrupt, enum gpio_signal);
FAKE_VOID_FUNC(spi_event, enum gpio_signal);
FAKE_VOID_FUNC(ccd_interrupt, enum gpio_signal);
FAKE_VOID_FUNC(x_ec_interrupt, enum gpio_signal);

/* LCOV_EXCL_STOP */
```

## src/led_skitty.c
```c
/* Copyright 2024 The ChromiumOS Authors
 * Use of this source code is governed by a BSD-style license that can be
 * found in the LICENSE file.
 */

#include "charge_state.h"
#include "hooks.h"
#include "led_common.h"
#include "led_onoff_states.h"
#include "system.h"

#include <zephyr/fff.h>
#include <zephyr/ztest.h>

extern int ztest_duty_white;
extern int ztest_duty_amber;
static enum led_pwr_state test_state;
static int test_chg_percent;

__override enum led_pwr_state skitty_led_pwr_get_state()
{
	return test_state;
}

__override int skitty_charge_get_percent()
{
	return test_chg_percent;
}

ZTEST(skitty_led, test_led_control)
{
	uint8_t brightness[EC_LED_COLOR_COUNT] = { -1 };

	/* Verify LED set to OFF */
	brightness[EC_LED_COLOR_WHITE] = 1;
	brightness[EC_LED_COLOR_AMBER] = 0;

	int rv = led_set_brightness(EC_LED_ID_POWER_LED, brightness);
	zassert_equal(rv, EC_ERROR_PARAM1);

	led_set_brightness(EC_LED_ID_BATTERY_LED, brightness);
	zassert_equal(1, ztest_duty_white);
	zassert_equal(0, ztest_duty_amber);

	brightness[EC_LED_COLOR_WHITE] = 0;
	brightness[EC_LED_COLOR_AMBER] = 1;

	led_set_brightness(EC_LED_ID_BATTERY_LED, brightness);
	zassert_equal(0, ztest_duty_white);
	zassert_equal(1, ztest_duty_amber);

	brightness[EC_LED_COLOR_WHITE] = 0;
	brightness[EC_LED_COLOR_AMBER] = 0;
	led_set_brightness(EC_LED_ID_BATTERY_LED, brightness);
	zassert_equal(0, ztest_duty_white);
	zassert_equal(0, ztest_duty_amber);

	led_get_brightness_range(EC_LED_ID_BATTERY_LED, brightness);
	zassert_equal(brightness[EC_LED_COLOR_WHITE], 100);
	zassert_equal(brightness[EC_LED_COLOR_AMBER], 100);

	led_get_brightness_range(EC_LED_ID_POWER_LED, brightness);

	test_state = LED_PWRS_CHARGE;
	k_msleep(HOOK_TICK_INTERVAL_MS);
	zassert_equal(100, ztest_duty_amber);
	zassert_equal(0, ztest_duty_white);

	test_state = LED_PWRS_ERROR;

	k_msleep(HOOK_TICK_INTERVAL_MS);
	zassert_equal(0, ztest_duty_white);
	zassert_equal(0, ztest_duty_amber);

	k_msleep(HOOK_TICK_INTERVAL_MS);
	zassert_equal(0, ztest_duty_white);
	zassert_equal(100, ztest_duty_amber);

	test_state = LED_PWRS_DISCHARGE;

	test_chg_percent = 60;
	k_msleep(HOOK_TICK_INTERVAL_MS);
	zassert_equal(0, ztest_duty_white);
	zassert_equal(0, ztest_duty_amber);

	test_chg_percent = 7;
	k_msleep(HOOK_TICK_INTERVAL_MS);
	zassert_equal(0, ztest_duty_white);
	zassert_not_equal(0, ztest_duty_amber);

	test_chg_percent = 4;
	k_msleep(HOOK_TICK_INTERVAL_MS);
	zassert_equal(0, ztest_duty_white);
	zassert_not_equal(0, ztest_duty_amber);

	test_state = LED_PWRS_CHARGE_NEAR_FULL;
	k_msleep(HOOK_TICK_INTERVAL_MS);
	zassert_equal(0, ztest_duty_amber);
	zassert_equal(100, ztest_duty_white);

	test_state = LED_PWRS_IDLE;
	k_msleep(HOOK_TICK_INTERVAL_MS);
	zassert_equal(0, ztest_duty_amber);
	zassert_equal(100, ztest_duty_white);

	test_state = LED_PWRS_FORCED_IDLE;
	k_msleep(HOOK_TICK_INTERVAL_MS);
	zassert_equal(0, ztest_duty_white);
	zassert_not_equal(0, ztest_duty_amber);
}

static void skitty_led_test_init(void *fixture)
{
	test_state = LED_PWRS_CHARGE;
	test_chg_percent = 100;
}

ZTEST_SUITE(skitty_led, NULL, skitty_led_test_init, NULL, NULL, NULL);
```

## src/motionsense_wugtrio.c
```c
/* Copyright 2024 The ChromiumOS Authors
 * Use of this source code is governed by a BSD-style license that can be
 * found in the LICENSE file.
 */

#include "cros_board_info.h"
#include "cros_cbi.h"
#include "gpio_signal.h"
#include "hooks.h"
#include "tablet_mode.h"
#include "zephyr/kernel.h"

#include <zephyr/drivers/gpio/gpio_emul.h>
#include <zephyr/fff.h>
#include <zephyr/ztest.h>

#define SSFC_LID_MAIN_SENSOR (0x1)
#define SSFC_LID_ALT_SENSOR (0x1 << 1)

FAKE_VALUE_FUNC(int, cbi_get_ssfc, uint32_t *);

static int interrupt_id;
static int ssfc_data;

static void reset(void)
{
	/* Re-initialize CBI */
	cros_cbi_ec_init();

	/* Re-initialize sensors and board config */
	hook_notify(HOOK_INIT);
}

static int cbi_get_ssfc_mock(uint32_t *ssfc)
{
	*ssfc = ssfc_data;
	return 0;
}

void bmi3xx_interrupt(enum gpio_signal signal)
{
	interrupt_id = 1;
}

void lsm6dsm_interrupt(enum gpio_signal signal)
{
	interrupt_id = 2;
}

static void *alt_sensor_use_setup(void)
{
	const struct device *wp_gpio =
		DEVICE_DT_GET(DT_GPIO_CTLR(DT_ALIAS(gpio_wp), gpios));
	const gpio_port_pins_t wp_pin = DT_GPIO_PIN(DT_ALIAS(gpio_wp), gpios);

	/* Make sure that write protect is disabled */
	zassert_ok(gpio_emul_input_set(wp_gpio, wp_pin, 1), NULL);
	/* Set SSFC to enable alt sensors. */
	cbi_get_ssfc_fake.custom_fake = cbi_get_ssfc_mock;
	ssfc_data = SSFC_LID_ALT_SENSOR;
	/* Run init hooks to initialize cbi. */
	reset();

	return NULL;
}

ZTEST_SUITE(alt_sensor_use, NULL, alt_sensor_use_setup, NULL, NULL, NULL);

ZTEST(alt_sensor_use, test_alt_sensor_use)
{
	const struct device *base_imu_gpio = DEVICE_DT_GET(
		DT_GPIO_CTLR(DT_NODELABEL(base_imu_int_l), gpios));
	const gpio_port_pins_t base_imu_pin =
		DT_GPIO_PIN(DT_NODELABEL(base_imu_int_l), gpios);

	zassert_ok(gpio_emul_input_set(base_imu_gpio, base_imu_pin, 1), NULL);
	k_sleep(K_MSEC(100));
	zassert_ok(gpio_emul_input_set(base_imu_gpio, base_imu_pin, 0), NULL);
	k_sleep(K_MSEC(100));

	zassert_equal(interrupt_id, 2, "interrupt_id=%d", interrupt_id);
}

static void *alt_sensor_no_use_setup(void)
{
	const struct device *wp_gpio =
		DEVICE_DT_GET(DT_GPIO_CTLR(DT_ALIAS(gpio_wp), gpios));
	const gpio_port_pins_t wp_pin = DT_GPIO_PIN(DT_ALIAS(gpio_wp), gpios);

	/* Make sure that write protect is disabled */
	zassert_ok(gpio_emul_input_set(wp_gpio, wp_pin, 1), NULL);
	/* Set SSFC to disable alt sensors. */
	cbi_get_ssfc_fake.custom_fake = cbi_get_ssfc_mock;
	ssfc_data = SSFC_LID_MAIN_SENSOR;
	/* Run init hooks to initialize cbi. */
	reset();

	return NULL;
}

ZTEST_SUITE(alt_sensor_no_use, NULL, alt_sensor_no_use_setup, NULL, NULL, NULL);

ZTEST(alt_sensor_no_use, test_alt_sensor_no_use)
{
	const struct device *base_imu_gpio = DEVICE_DT_GET(
		DT_GPIO_CTLR(DT_NODELABEL(base_imu_int_l), gpios));
	const gpio_port_pins_t base_imu_pin =
		DT_GPIO_PIN(DT_NODELABEL(base_imu_int_l), gpios);

	zassert_ok(gpio_emul_input_set(base_imu_gpio, base_imu_pin, 1), NULL);
	k_sleep(K_MSEC(100));
	zassert_ok(gpio_emul_input_set(base_imu_gpio, base_imu_pin, 0), NULL);
	k_sleep(K_MSEC(100));

	zassert_equal(interrupt_id, 1, "interrupt_id=%d", interrupt_id);
}
```

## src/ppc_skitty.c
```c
/* Copyright 2024 The ChromiumOS Authors
 * Use of this source code is governed by a BSD-style license that can be
 * found in the LICENSE file.
 */

#include "gpio.h"
#include "gpio/gpio_int.h"
#include "hooks.h"
#include "usbc/ppc.h"

#include <zephyr/devicetree.h>
#include <zephyr/drivers/emul.h>
#include <zephyr/drivers/gpio/gpio_emul.h>
#include <zephyr/fff.h>
#include <zephyr/ztest.h>

FAKE_VOID_FUNC(ppc_chip_0_interrupt, int);

ZTEST(ppc_skitty, test_ppc_init)
{
	const struct device *ppc_int_gpio = DEVICE_DT_GET(
		DT_GPIO_CTLR(DT_NODELABEL(usb_c0_ppc_int_odl), gpios));
	const gpio_port_pins_t ppc_int_pin =
		DT_GPIO_PIN(DT_NODELABEL(usb_c0_ppc_int_odl), gpios);

	hook_notify(HOOK_INIT);
	zassert_ok(gpio_emul_input_set(ppc_int_gpio, ppc_int_pin, 1), NULL);
	k_sleep(K_MSEC(100));
	zassert_ok(gpio_emul_input_set(ppc_int_gpio, ppc_int_pin, 0), NULL);
	k_sleep(K_MSEC(100));

	zassert_equal(ppc_chip_0_interrupt_fake.call_count, 1);
}

static void *ppc_skitty_init(void)
{
	static struct ppc_drv fake_ppc_drv_0;

	zassert_equal(ppc_cnt, 1);

	/* inject mocked interrupt handlers into ppc_drv */
	fake_ppc_drv_0 = *ppc_chips[0].drv;
	fake_ppc_drv_0.interrupt = ppc_chip_0_interrupt;
	ppc_chips[0].drv = &fake_ppc_drv_0;

	return NULL;
}

static void ppc_skitty_before(void *fixture)
{
	RESET_FAKE(ppc_chip_0_interrupt);
}
ZTEST_SUITE(ppc_skitty, NULL, ppc_skitty_init, ppc_skitty_before, NULL, NULL);
```
